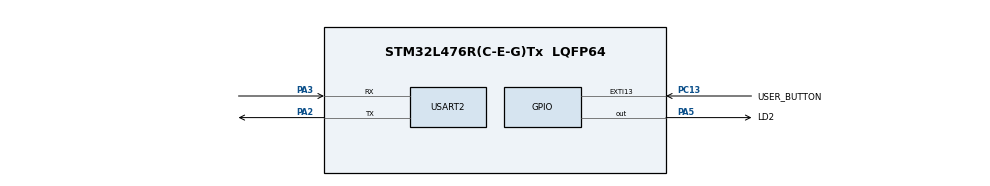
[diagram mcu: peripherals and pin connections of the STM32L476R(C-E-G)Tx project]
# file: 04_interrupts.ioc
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Mcu.Family=STM32L4
Mcu.Name=STM32L476R(C-E-G)Tx
Mcu.Package=LQFP64
NVIC.EXTI15_10_IRQn=true\:8\:0\:true\:false\:true\:true\:true\:true
NVIC.PriorityGroup=NVIC_PRIORITYGROUP_4
NVIC.USART2_IRQn=true\:0\:0\:true\:false\:true\:true\:true\:true
PA13\ (JTMS-SWDIO).Mode=Serial_Wire
PA13\ (JTMS-SWDIO).Signal=SYS_JTMS-SWDIO
PA14\ (JTCK-SWCLK).Mode=Serial_Wire
PA14\ (JTCK-SWCLK).Signal=SYS_JTCK-SWCLK
PA2.Mode=Asynchronous
PA2.Signal=USART2_TX
PA3.Mode=Asynchronous
PA3.Signal=USART2_RX
PA5.GPIO_Label=LD2
PA5.Signal=GPIO_Output
PC13.GPIO_Label=USER_BUTTON
PC13.Signal=GPXTI13
ProjectManager.HeapSize=0x200
ProjectManager.StackSize=0x400
ProjectManager.TargetToolchain=STM32CubeIDE
RCC.HSE_VALUE=8000000
RCC.HSI_VALUE=16000000
RCC.LSE_VALUE=32768
RCC.MSI_VALUE=4000000
RCC.VCOOutputFreq_Value=32000000
USART2.VirtualMode-Asynchronous=VM_ASYNC
board=custom

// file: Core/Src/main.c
/* USER CODE BEGIN Header */
/**
  ******************************************************************************
  * @file           : main.c
  * @brief          : Main program body
  ******************************************************************************
  * @attention
  *
  * Copyright (c) 2026 STMicroelectronics.
  * All rights reserved.
  *
  * This software is licensed under terms that can be found in the LICENSE file
  * in the root directory of this software component.
  * If no LICENSE file comes with this software, it is provided AS-IS.
  *
  ******************************************************************************
  */
/* USER CODE END Header */
#include "main.h"

/* USER CODE BEGIN PTD */
typedef enum {
	MESSAGE_1,
	MESSAGE_2,
	DONE
} sender_state;

/* USER CODE END PTD */

UART_HandleTypeDef huart2;

void SystemClock_Config(void);
static void MX_GPIO_Init(void);
static void MX_USART2_UART_Init(void);

/* USER CODE BEGIN 0 */
int __io_putchar(int ch){
	if(ch == '\n'){
		__io_putchar('\r');
	}
	HAL_UART_Transmit(&huart2, (uint8_t*)&ch, 1, HAL_MAX_DELAY);
	return 1;
}

volatile uint32_t push_counter;

void HAL_GPIO_EXTI_Callback(uint16_t GPIO_Pin){
	if(GPIO_Pin == USER_BUTTON_Pin){
		push_counter++;
	}
}

volatile sender_state message_number = MESSAGE_1;

void send_message(void){
    static char message1[] = "Hello world!\r\n";
    static char message2[] = "Bye world!\r\n";

    switch(message_number){
    case MESSAGE_1:
    	HAL_UART_Transmit_IT(
    	        &huart2,
    	        (uint8_t*)message1,
    	        strlen(message1)
    	    );
    	message_number = MESSAGE_2;
    	break;
    case MESSAGE_2:
    	HAL_UART_Transmit_IT(
    	         &huart2,
    	         (uint8_t*)message2,
    	         strlen(message2)
    	    );
    	message_number = DONE;
    	break;
    default:
    	break;
    }
}

void HAL_UART_TxCpltCallback(UART_HandleTypeDef *huart){
    if(huart == &huart2){
    	send_message();
    }
}

#define LINE_MAX_LENGTH 80
static char line_buffer[LINE_MAX_LENGTH + 1];
static uint32_t line_length;
void line_append(uint8_t value)
{
  if (value == '\r' || value == '\n') {
    if (line_length > 0) {
      line_buffer[line_length] = '\0';
      if (strcmp(line_buffer, "on") == 0) {
        HAL_GPIO_WritePin(LD2_GPIO_Port, LD2_Pin, GPIO_PIN_SET);
      } else if (strcmp(line_buffer, "off") == 0) {
        HAL_GPIO_WritePin(LD2_GPIO_Port, LD2_Pin, GPIO_PIN_RESET);
      }
      line_length = 0;
    }
  }
  else {
    if (line_length >= LINE_MAX_LENGTH) {
      line_length = 0;
    }
    line_buffer[line_length++] = value;
  }
}

uint8_t uart_rx_buffer;

void HAL_UART_RxCpltCallback(UART_HandleTypeDef *huart){
	if(huart == &huart2){
		line_append(uart_rx_buffer);
		HAL_UART_Receive_IT(&huart2, &uart_rx_buffer, 1);
	}
}

/* USER CODE END 0 */

int main(void)
{

  /* MCU Configuration--------------------------------------------------------*/

  /* Reset of all peripherals, Initializes the Flash interface and the Systick. */
  HAL_Init();

  /* Configure the system clock */
  SystemClock_Config();

  /* Initialize all configured peripherals */
  MX_GPIO_Init();
  MX_USART2_UART_Init();
  /* USER CODE BEGIN 2 */
  send_message();

  /* USER CODE END 2 */

  /* Infinite loop */
  /* USER CODE BEGIN WHILE */
  uint32_t old_push_counter = push_counter;
  while (1)
  {
	 //printf("systick = %lu\n", HAL_GetTick());
//	 if(old_push_counter != push_counter){
//		 old_push_counter = push_counter;
//		 printf("counter = %lu\n", push_counter);
//	 }

	 HAL_UART_Receive_IT(&huart2, &uart_rx_buffer, 1);
    /* USER CODE END WHILE */

  }
}

void SystemClock_Config(void)
{
  RCC_OscInitTypeDef RCC_OscInitStruct = {0};
  RCC_ClkInitTypeDef RCC_ClkInitStruct = {0};

  /** Configure the main internal regulator output voltage
  */
  if (HAL_PWREx_ControlVoltageScaling(PWR_REGULATOR_VOLTAGE_SCALE1) != HAL_OK)
  {
    Error_Handler();
  }

  /** Initializes the RCC Oscillators according to the specified parameters
  * in the RCC_OscInitTypeDef structure.
  */
  RCC_OscInitStruct.OscillatorType = RCC_OSCILLATORTYPE_MSI;
  RCC_OscInitStruct.MSIState = RCC_MSI_ON;
  RCC_OscInitStruct.MSICalibrationValue = 0;
  RCC_OscInitStruct.MSIClockRange = RCC_MSIRANGE_6;
  RCC_OscInitStruct.PLL.PLLState = RCC_PLL_NONE;
  if (HAL_RCC_OscConfig(&RCC_OscInitStruct) != HAL_OK)
  {
    Error_Handler();
  }

  /** Initializes the CPU, AHB and APB buses clocks
  */
  RCC_ClkInitStruct.ClockType = RCC_CLOCKTYPE_HCLK|RCC_CLOCKTYPE_SYSCLK
                              |RCC_CLOCKTYPE_PCLK1|RCC_CLOCKTYPE_PCLK2;
  RCC_ClkInitStruct.SYSCLKSource = RCC_SYSCLKSOURCE_MSI;
  RCC_ClkInitStruct.AHBCLKDivider = RCC_SYSCLK_DIV1;
  RCC_ClkInitStruct.APB1CLKDivider = RCC_HCLK_DIV1;
  RCC_ClkInitStruct.APB2CLKDivider = RCC_HCLK_DIV1;

  if (HAL_RCC_ClockConfig(&RCC_ClkInitStruct, FLASH_LATENCY_0) != HAL_OK)
  {
    Error_Handler();
  }
}

static void MX_USART2_UART_Init(void)
{

  huart2.Instance = USART2;
  huart2.Init.BaudRate = 115200;
  huart2.Init.WordLength = UART_WORDLENGTH_8B;
  huart2.Init.StopBits = UART_STOPBITS_1;
  huart2.Init.Parity = UART_PARITY_NONE;
  huart2.Init.Mode = UART_MODE_TX_RX;
  huart2.Init.HwFlowCtl = UART_HWCONTROL_NONE;
  huart2.Init.OverSampling = UART_OVERSAMPLING_16;
  huart2.Init.OneBitSampling = UART_ONE_BIT_SAMPLE_DISABLE;
  huart2.AdvancedInit.AdvFeatureInit = UART_ADVFEATURE_NO_INIT;
  if (HAL_UART_Init(&huart2) != HAL_OK)
  {
    Error_Handler();
  }

}

static void MX_GPIO_Init(void)
{
  GPIO_InitTypeDef GPIO_InitStruct = {0};

  /* GPIO Ports Clock Enable */
  __HAL_RCC_GPIOC_CLK_ENABLE();
  __HAL_RCC_GPIOA_CLK_ENABLE();

  /*Configure GPIO pin Output Level */
  HAL_GPIO_WritePin(LD2_GPIO_Port, LD2_Pin, GPIO_PIN_RESET);

  /*Configure GPIO pin : USER_BUTTON_Pin */
  GPIO_InitStruct.Pin = USER_BUTTON_Pin;
  GPIO_InitStruct.Mode = GPIO_MODE_IT_RISING;
  GPIO_InitStruct.Pull = GPIO_NOPULL;
  HAL_GPIO_Init(USER_BUTTON_GPIO_Port, &GPIO_InitStruct);

  /*Configure GPIO pin : LD2_Pin */
  GPIO_InitStruct.Pin = LD2_Pin;
  GPIO_InitStruct.Mode = GPIO_MODE_OUTPUT_PP;
  GPIO_InitStruct.Pull = GPIO_NOPULL;
  GPIO_InitStruct.Speed = GPIO_SPEED_FREQ_LOW;
  HAL_GPIO_Init(LD2_GPIO_Port, &GPIO_InitStruct);

  /* EXTI interrupt init*/
  HAL_NVIC_SetPriority(EXTI15_10_IRQn, 8, 0);
  HAL_NVIC_EnableIRQ(EXTI15_10_IRQn);

}

void Error_Handler(void)
{
  __disable_irq();
  while (1)
  {
  }
}
